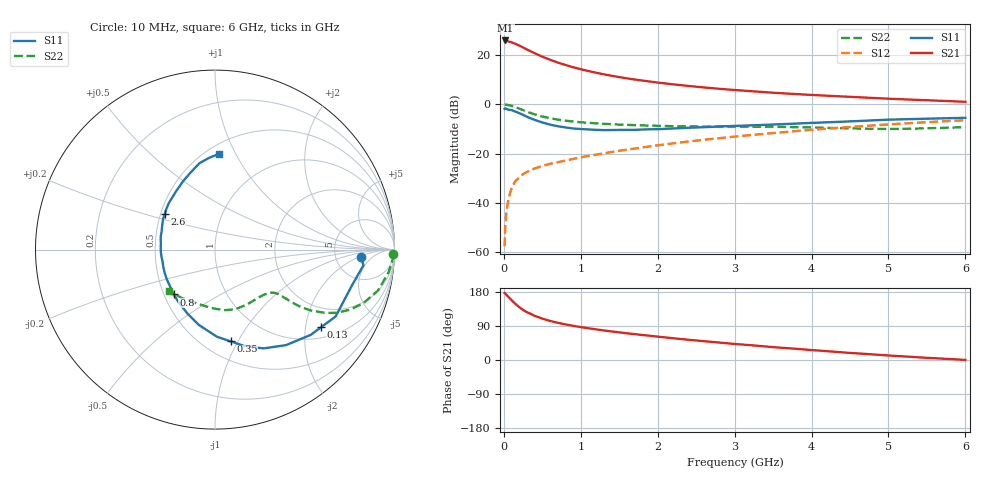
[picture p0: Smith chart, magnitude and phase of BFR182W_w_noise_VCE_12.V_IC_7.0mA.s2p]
! Infineon Technologies  Discrete & RF Semiconductors
! BFR182W
! VCE =  12. V,  IC =  7.0 mA
! Common Emitter S-Parameters:  Jan 2017
# GHz  S  MA  R  50
!  f  S11  S21  S12  S22
! GHz  MAG  ANG  MAG  ANG  MAG  ANG  MAG  ANG
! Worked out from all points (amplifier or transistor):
!   77 points, 10 MHz to 6 GHz, reference 50 ohm
!   highest |S21| = 26.0 dB at 20 MHz (marker M1)
!   |S21| within 3 dB of that: start of sweep to 258.8 MHz
!   unconditionally stable (mu >= 1): 1.232 GHz to 2.77 GHz
!   at 130 MHz: K = 0.22, MSG = 28.6 dB, |S12| = -32.4 dB
!   at 2.2 GHz: K = 1.04, MAG = 10.8 dB, |S12| = -15.9 dB
!   at 6 GHz: K = 0.84, MSG = 3.7 dB, |S12| = -6.4 dB
!   lowest NFmin = 0.95 dB at 450 MHz
!   S11 on the Smith chart (normalised r, x): 10 MHz: 9.12, -2.29; 130 MHz: 1.30, -2.43; 350 MHz: 0.67, -0.93; 800 MHz: 0.56, -0.32; 2.6 GHz: 0.53, +0.24; 6 GHz: 0.58, +0.86
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0.01  0.8131 -3.0  19.82 176.9  0.0013 79.3  0.9936 -1.4
0.02  0.832 -6.0  20.04 174.9  0.0037 85.6  0.9911 -3.1
0.05  0.7893 -14.5  19.37 168.4  0.0096 82.2  0.9759 -7.4
0.1  0.7685 -29.0  18.43 157.8  0.0193 76.7  0.9365 -14.1
0.13  0.7319 -36.3  17.6 152.1  0.0241 72.4  0.9015 -17.4
0.15  0.7147 -41.6  17.15 148.1  0.0274 70.4  0.8799 -19.8
0.2  0.6632 -53.4  15.76 139.5  0.0325 65.6  0.8211 -24.1
0.25  0.613 -63.9  14.43 132.1  0.0381 62.0  0.7648 -27.4
0.3  0.5607 -73.2  13.12 126.2  0.0422 60.0  0.7109 -29.8
0.35  0.5187 -80.3  12.03 121.7  0.0458 58.8  0.6692 -31.1
0.4  0.4861 -88.6  11.03 116.4  0.0495 57.8  0.6278 -32.6
0.5  0.4295 -102.0  9.365 109.2  0.0558 56.7  0.567 -33.9
0.6  0.3879 -113.3  8.12 103.2  0.0617 56.8  0.523 -34.4
0.8  0.3402 -132.7  6.355 94.0  0.0719 58.5  0.4669 -34.7
1.1  0.3088 -155.4  4.779 83.8  0.0893 60.8  0.4218 -35.4
1.5  0.3021 -177.6  3.599 73.0  0.1136 62.6  0.3886 -38.3
2.1  0.3177 158.7  2.672 59.6  0.1539 63.0  0.3633 -46.3
2.6  0.3437 144.6  2.215 49.6  0.1903 62.0  0.3545 -55.4
3.1  0.3691 132.5  1.914 40.8  0.2288 59.7  0.3511 -64.6
4.1  0.4261 113.4  1.531 24.8  0.3121 53.1  0.3369 -84.1
5.1  0.4935 98.8  1.287 10.7  0.3998 44.4  0.3169 -112.2
6  0.533 87.8  1.131 0.2  0.4771 35.4  0.3457 -138.5
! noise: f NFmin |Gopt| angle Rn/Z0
0.45  0.95  0.17  35  0.16
0.9  1.04  0.15  63  0.15
1.9  1.57  0.18  174  0.13
2.4  1.84  0.19  -178  0.18
